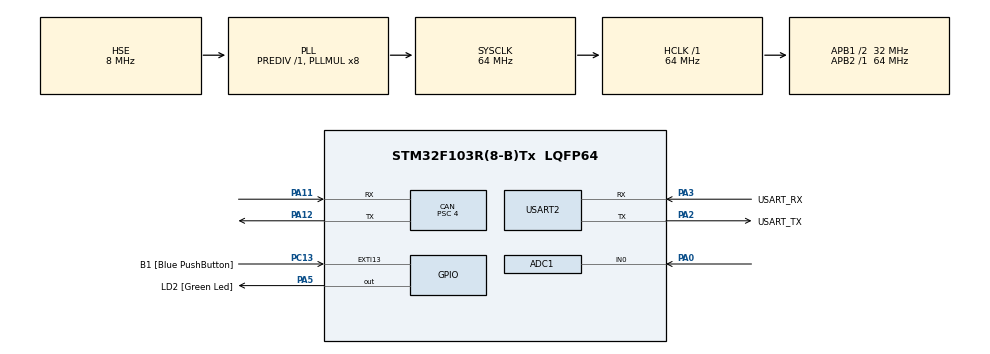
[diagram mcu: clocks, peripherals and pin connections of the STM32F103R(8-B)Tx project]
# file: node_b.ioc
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ADC1.Channel-0\#ChannelRegularConversion=ADC_CHANNEL_0
ADC1.NbrOfConversionFlag=1
ADC1.Rank-0\#ChannelRegularConversion=1
ADC1.SamplingTime-0\#ChannelRegularConversion=ADC_SAMPLETIME_55CYCLES_5
ADC1.master=1
CAN.BS1=CAN_BS1_13TQ
CAN.BS2=CAN_BS2_2TQ
CAN.AutoBusOff=ENABLE
CAN.AutoRetransmission=ENABLE
CAN.CalculateBaudRate=500000
CAN.CalculateTimeBit=2000
CAN.CalculateTimeQuantum=125.0
CAN.Prescaler=4
FREERTOS.Queues01=qB_CanRx,4,AppCanRxFrame_t,0,Dynamic,NULL,NULL;mbB_NodeAStatus,1,BNodeAStatus_t,0,Dynamic,NULL,NULL
FREERTOS.Tasks01=B_ComRxTask,40,256,StartBComRxTask,Default,NULL,Dynamic,NULL,NULL;B_Cyclic100msSupervisorTask,24,512,StartBCyclic100msSupervisorTask,Default,NULL,Dynamic,NULL,NULL
FREERTOS.configCHECK_FOR_STACK_OVERFLOW=2
FREERTOS.configMAX_TASK_NAME_LEN=32
FREERTOS.configTOTAL_HEAP_SIZE=8192
FREERTOS.configUSE_MALLOC_FAILED_HOOK=1
Mcu.Family=STM32F1
Mcu.Name=STM32F103R(8-B)Tx
Mcu.Package=LQFP64
NVIC.EXTI15_10_IRQn=true\:7\:0\:true\:false\:true\:true\:true\:true\:true
NVIC.PriorityGroup=NVIC_PRIORITYGROUP_4
NVIC.TIM4_IRQn=true\:15\:0\:false\:false\:true\:false\:false\:true\:true
NVIC.TimeBase=TIM4_IRQn
NVIC.TimeBaseIP=TIM4
NVIC.USB_LP_CAN1_RX0_IRQn=true\:5\:0\:true\:false\:true\:true\:true\:true\:true
PA0-WKUP.Signal=ADCx_IN0
PA11.Mode=CAN_Activate
PA11.Signal=CAN_RX
PA12.Mode=CAN_Activate
PA12.Signal=CAN_TX
PA13.GPIO_Label=TMS
PA13.Mode=Serial_Wire
PA13.Signal=SYS_JTMS-SWDIO
PA14.GPIO_Label=TCK
PA14.Mode=Serial_Wire
PA14.Signal=SYS_JTCK-SWCLK
PA2.GPIO_Label=USART_TX
PA2.GPIO_Mode=GPIO_MODE_AF_PP
PA2.GPIO_PuPd=GPIO_NOPULL
PA2.GPIO_Speed=GPIO_SPEED_FREQ_LOW
PA2.Mode=Asynchronous
PA2.Signal=USART2_TX
PA3.GPIO_Label=USART_RX
PA3.GPIO_Mode=GPIO_MODE_INPUT
PA3.GPIO_PuPd=GPIO_NOPULL
PA3.GPIO_Speed=GPIO_SPEED_FREQ_LOW
PA3.Mode=Asynchronous
PA3.Signal=USART2_RX
PA5.GPIO_Label=LD2 [Green Led]
PA5.GPIO_ModeDefaultOutputPP=GPIO_MODE_OUTPUT_PP
PA5.GPIO_PuPd=GPIO_NOPULL
PA5.GPIO_Speed=GPIO_SPEED_FREQ_LOW
PA5.Signal=GPIO_Output
PB3.GPIO_Label=SWO
PB3.Signal=SYS_JTDO-TRACESWO
PC13-TAMPER-RTC.GPIO_Label=B1 [Blue PushButton]
PC13-TAMPER-RTC.GPIO_ModeDefaultEXTI=GPIO_MODE_IT_FALLING
PC13-TAMPER-RTC.GPIO_PuPd=GPIO_NOPULL
PC13-TAMPER-RTC.Signal=GPXTI13
PC14-OSC32_IN.Signal=RCC_OSC32_IN
PC15-OSC32_OUT.Signal=RCC_OSC32_OUT
PD0-OSC_IN.Mode=HSE-External-Clock-Source
PD0-OSC_IN.Signal=RCC_OSC_IN
PD1-OSC_OUT.Signal=RCC_OSC_OUT
ProjectManager.HeapSize=0x200
ProjectManager.StackSize=0x400
ProjectManager.TargetToolchain=STM32CubeIDE
RCC.ADCPresc=RCC_ADCPCLK2_DIV6
RCC.AHBFreq_Value=64000000
RCC.APB1CLKDivider=RCC_HCLK_DIV2
RCC.APB1Freq_Value=32000000
RCC.APB1TimFreq_Value=64000000
RCC.APB2Freq_Value=64000000
RCC.APB2TimFreq_Value=64000000
RCC.HCLKFreq_Value=64000000
RCC.HSE_VALUE=8000000
RCC.PLLMUL=RCC_PLL_MUL8
RCC.PLLSourceVirtual=RCC_PLLSOURCE_HSE
RCC.SYSCLKFreq_VALUE=64000000
RCC.SYSCLKSource=RCC_SYSCLKSOURCE_PLLCLK
RCC.USBFreq_Value=64000000
SH.ADCx_IN0.0=ADC1_IN0,IN0
USART2.VirtualMode=VM_ASYNC
VP_FREERTOS_VS_CMSIS_V2.Mode=CMSIS_V2
VP_SYS_VS_tim4.Mode=TIM4
board=NUCLEO-F103RB

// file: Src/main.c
/* USER CODE BEGIN Header */
/**
  ******************************************************************************
  * @file           : main.c
  * @brief          : Main program body
  ******************************************************************************
  * @attention
  *
  * Copyright (c) 2026 STMicroelectronics.
  * All rights reserved.
  *
  * This software is licensed under terms that can be found in the LICENSE file
  * in the root directory of this software component.
  * If no LICENSE file comes with this software, it is provided AS-IS.
  *
  ******************************************************************************
  */
/* USER CODE END Header */
#include "main.h"
#include "cmsis_os.h"
#include "adc.h"
#include "can.h"
#include "usart.h"
#include "gpio.h"

void SystemClock_Config(void);
void MX_FREERTOS_Init(void);

int main(void)
{

  /* MCU Configuration--------------------------------------------------------*/

  /* Reset of all peripherals, Initializes the Flash interface and the Systick. */
  HAL_Init();

  /* Configure the system clock */
  SystemClock_Config();

  /* Initialize all configured peripherals */
  MX_GPIO_Init();
  MX_ADC1_Init();
  MX_CAN_Init();
  MX_USART2_UART_Init();

  /* Init scheduler */
  osKernelInitialize();  /* Call init function for freertos objects (in cmsis_os2.c) */
  MX_FREERTOS_Init();

  /* Start scheduler */
  osKernelStart();

  /* We should never get here as control is now taken by the scheduler */

  /* Infinite loop */
  while (1)
  {

  }
}

void SystemClock_Config(void)
{
  RCC_OscInitTypeDef RCC_OscInitStruct = {0};
  RCC_ClkInitTypeDef RCC_ClkInitStruct = {0};
  RCC_PeriphCLKInitTypeDef PeriphClkInit = {0};

  /** Initializes the RCC Oscillators according to the specified parameters
  * in the RCC_OscInitTypeDef structure.
  */
  RCC_OscInitStruct.OscillatorType = RCC_OSCILLATORTYPE_HSE;
  RCC_OscInitStruct.HSEState = RCC_HSE_BYPASS;
  RCC_OscInitStruct.HSEPredivValue = RCC_HSE_PREDIV_DIV1;
  RCC_OscInitStruct.PLL.PLLState = RCC_PLL_ON;
  RCC_OscInitStruct.PLL.PLLSource = RCC_PLLSOURCE_HSE;
  RCC_OscInitStruct.PLL.PLLMUL = RCC_PLL_MUL8;
  if (HAL_RCC_OscConfig(&RCC_OscInitStruct) != HAL_OK)
  {
    Error_Handler();
  }

  /** Initializes the CPU, AHB and APB buses clocks
  */
  RCC_ClkInitStruct.ClockType = RCC_CLOCKTYPE_HCLK|RCC_CLOCKTYPE_SYSCLK
                              |RCC_CLOCKTYPE_PCLK1|RCC_CLOCKTYPE_PCLK2;
  RCC_ClkInitStruct.SYSCLKSource = RCC_SYSCLKSOURCE_PLLCLK;
  RCC_ClkInitStruct.AHBCLKDivider = RCC_SYSCLK_DIV1;
  RCC_ClkInitStruct.APB1CLKDivider = RCC_HCLK_DIV2;
  RCC_ClkInitStruct.APB2CLKDivider = RCC_HCLK_DIV1;

  if (HAL_RCC_ClockConfig(&RCC_ClkInitStruct, FLASH_LATENCY_2) != HAL_OK)
  {
    Error_Handler();
  }
  PeriphClkInit.PeriphClockSelection = RCC_PERIPHCLK_ADC;
  PeriphClkInit.AdcClockSelection = RCC_ADCPCLK2_DIV6;
  if (HAL_RCCEx_PeriphCLKConfig(&PeriphClkInit) != HAL_OK)
  {
    Error_Handler();
  }
}

void HAL_TIM_PeriodElapsedCallback(TIM_HandleTypeDef *htim)
{
  if (htim->Instance == TIM4)
  {
    HAL_IncTick();
  }
}

void Error_Handler(void)
{
  __disable_irq();
  while (1)
  {
  }
}

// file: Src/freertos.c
/* USER CODE BEGIN Header */
/**
  ******************************************************************************
  * File Name          : freertos.c
  * Description        : Code for freertos applications
  ******************************************************************************
  * @attention
  *
  * Copyright (c) 2026 STMicroelectronics.
  * All rights reserved.
  *
  * This software is licensed under terms that can be found in the LICENSE file
  * in the root directory of this software component.
  * If no LICENSE file comes with this software, it is provided AS-IS.
  *
  ******************************************************************************
  */
/* USER CODE END Header */

#include "FreeRTOS.h"
#include "task.h"
#include "main.h"
#include "cmsis_os.h"

/* USER CODE BEGIN Includes */
#include "app_ipc.h"
#include "adc.h"
#include "can.h"
#include "usart.h"

#include <stdio.h>
#include <string.h>

/* USER CODE END Includes */

/* USER CODE BEGIN PD */

#define H2_CAN_BITRATE_BPS       500000U
#define H2_CAN_TX_STD_ID         0x100U
#define H2_CAN_RX_STD_ID         0x180U
#define H2_CAN_PERIOD_MS         100U
#define H2_CAN_STARTUP_DELAY_MS  10000U
#define H2_CAN_TX_DLC            2U
#define H2_CAN_RX_DLC            5U
#define H2_CAN_RX_COUNTER_INDEX  2U

#define H3_NTC_SAMPLE_PERIOD_MS  H2_CAN_PERIOD_MS
#define H3_NTC_LOG_DIVIDER       10U
#define H3_ADC_FULL_SCALE        4095U
#define H3_VDDA_CONFIGURED_MV    3300U
#define H3_R_FIXED_OHM           9911U
#define H3_NTC_OPEN_RAW_MAX      50U
#define H3_NTC_SHORT_RAW_MIN     3950U

#define H3_NTC_STATE_NORMAL      0U
#define H3_NTC_STATE_OPEN        1U
#define H3_NTC_STATE_SHORT       2U

/* USER CODE END PD */

/* USER CODE BEGIN Variables */

static volatile uint8_t g_h2_can_ready;
static volatile uint8_t g_h2_can_start_result;
static volatile uint32_t g_h2_tx_attempts;
static volatile uint32_t g_h2_tx_queued;
static volatile uint32_t g_h2_tx_failures;
static volatile uint32_t g_h2_rx_irq_count;
static volatile uint32_t g_h2_rx_queue_drops;
static volatile uint32_t g_h2_rx_valid;
static volatile uint32_t g_h2_rx_invalid;
static volatile uint32_t g_h2_rx_sequence_errors;
static volatile uint8_t g_h2_rx_seen;
static volatile uint8_t g_h2_last_rx_counter;

static uint8_t g_h3_adc_cal_result;
static uint8_t g_h3_adc_ready;
static uint8_t g_h3_adc_last_result;
static uint16_t g_h3_adc_latest_raw;
static uint16_t g_h3_adc_window_min = H3_ADC_FULL_SCALE;
static uint16_t g_h3_adc_window_max;
static uint32_t g_h3_adc_samples_total;
static uint32_t g_h3_adc_failures_total;
static uint32_t g_h3_adc_window_samples;

/* USER CODE END Variables */
/* Definitions for B_ComRxTask */
osThreadId_t B_ComRxTaskHandle;
const osThreadAttr_t B_ComRxTask_attributes = {
  .name = "B_ComRxTask",
  .stack_size = 256 * 4,
  .priority = (osPriority_t) osPriorityHigh,
};
/* Definitions for B_Cyclic100msSupervisorTask */
osThreadId_t B_Cyclic100msSupervisorTaskHandle;
const osThreadAttr_t B_Cyclic100msSupervisorTask_attributes = {
  .name = "B_Cyclic100msSupervisorTask",
  .stack_size = 512 * 4,
  .priority = (osPriority_t) osPriorityNormal,
};
/* Definitions for qB_CanRx */
osMessageQueueId_t qB_CanRxHandle;
const osMessageQueueAttr_t qB_CanRx_attributes = {
  .name = "qB_CanRx"
};
/* Definitions for mbB_NodeAStatus */
osMessageQueueId_t mbB_NodeAStatusHandle;
const osMessageQueueAttr_t mbB_NodeAStatus_attributes = {
  .name = "mbB_NodeAStatus"
};

/* USER CODE BEGIN FunctionPrototypes */

static uint8_t H2_CanStart(void);
static void App_UartWrite(const char *text);
static void H2_LogBoot(uint8_t start_result);
static void H2_LogStatus(void);
static void H2_SendFrame(uint8_t counter);
static uint8_t H2_IsValidPeerFrame(const AppCanRxFrame_t *frame);
static uint8_t H2_GetPeerCounter(const AppCanRxFrame_t *frame);
static uint8_t H3_AdcSample(uint16_t *raw);
static void H3_LogBoot(void);
static void H3_LogNtcStatus(void);

/* USER CODE END FunctionPrototypes */

void StartBComRxTask(void *argument);
void StartBCyclic100msSupervisorTask(void *argument);

void MX_FREERTOS_Init(void); /* (MISRA C 2004 rule 8.1) */

/* Hook prototypes */
void vApplicationStackOverflowHook(xTaskHandle xTask, signed char *pcTaskName);
void vApplicationMallocFailedHook(void);

/* USER CODE BEGIN 4 */
static uint8_t H2_CanStart(void)
{
  CAN_FilterTypeDef filter = {0};

  filter.FilterBank = 0;
  filter.FilterMode = CAN_FILTERMODE_IDMASK;
  filter.FilterScale = CAN_FILTERSCALE_32BIT;
  filter.FilterIdHigh = 0;
  filter.FilterIdLow = 0;
  filter.FilterMaskIdHigh = 0;
  filter.FilterMaskIdLow = 0;
  filter.FilterFIFOAssignment = CAN_RX_FIFO0;
  filter.FilterActivation = ENABLE;
  filter.SlaveStartFilterBank = 14;

  if (HAL_CAN_ConfigFilter(&hcan, &filter) != HAL_OK)
  {
    return 1U;
  }
  if (HAL_CAN_Start(&hcan) != HAL_OK)
  {
    return 2U;
  }
  if (HAL_CAN_ActivateNotification(&hcan,
                                   CAN_IT_RX_FIFO0_MSG_PENDING |
                                   CAN_IT_RX_FIFO0_OVERRUN) != HAL_OK)
  {
    return 3U;
  }

  return 0U;
}

static void App_UartWrite(const char *text)
{
  size_t length;

  if (text == NULL)
  {
    return;
  }

  length = strlen(text);
  if (length > UINT16_MAX)
  {
    length = UINT16_MAX;
  }
  (void)HAL_UART_Transmit(&huart2, (uint8_t *)text, (uint16_t)length, 100U);
}

static void H2_LogBoot(uint8_t start_result)
{
  char line[192];
  int length;

  if (start_result == 0U)
  {
    length = snprintf(line, sizeof(line),
                      "H2,B,BOOT,profile=formal_baseline,bitrate=%lu,tx_id=0x%03lX,tx_dlc=%u,rx_id=0x%03lX,rx_dlc=%u,period_ms=%lu,start_delay_ms=%lu\r\n",
                      (unsigned long)H2_CAN_BITRATE_BPS,
                      (unsigned long)H2_CAN_TX_STD_ID,
                      (unsigned int)H2_CAN_TX_DLC,
                      (unsigned long)H2_CAN_RX_STD_ID,
                      (unsigned int)H2_CAN_RX_DLC,
                      (unsigned long)H2_CAN_PERIOD_MS,
                      (unsigned long)H2_CAN_STARTUP_DELAY_MS);
  }
  else
  {
    length = snprintf(line, sizeof(line),
                      "H2,B,BOOT_FAIL,start_result=%u,hal_error=0x%08lX\r\n",
                      (unsigned int)start_result,
                      (unsigned long)HAL_CAN_GetError(&hcan));
  }

  if (length > 0)
  {
    line[sizeof(line) - 1U] = '\0';
    App_UartWrite(line);
  }
}

static void H2_LogStatus(void)
{
  char line[256];
  int length;

  length = snprintf(line, sizeof(line),
                    "H2,B,STAT,tick=%lu,tx_try=%lu,tx_q=%lu,tx_fail=%lu,rx_irq=%lu,rx=%lu,rx_bad=%lu,seq_err=%lu,q_drop=%lu,seen=%u,last=%u,mb_free=%lu,hal_err=0x%08lX,esr=0x%08lX\r\n",
                    (unsigned long)HAL_GetTick(),
                    (unsigned long)g_h2_tx_attempts,
                    (unsigned long)g_h2_tx_queued,
                    (unsigned long)g_h2_tx_failures,
                    (unsigned long)g_h2_rx_irq_count,
                    (unsigned long)g_h2_rx_valid,
                    (unsigned long)g_h2_rx_invalid,
                    (unsigned long)g_h2_rx_sequence_errors,
                    (unsigned long)g_h2_rx_queue_drops,
                    (unsigned int)g_h2_rx_seen,
                    (unsigned int)g_h2_last_rx_counter,
                    (unsigned long)HAL_CAN_GetTxMailboxesFreeLevel(&hcan),
                    (unsigned long)HAL_CAN_GetError(&hcan),
                    (unsigned long)hcan.Instance->ESR);

  if (length > 0)
  {
    line[sizeof(line) - 1U] = '\0';
    App_UartWrite(line);
  }
}

static void H2_SendFrame(uint8_t counter)
{
  CAN_TxHeaderTypeDef header = {0};
  uint32_t mailbox = 0U;
  uint8_t data[8] = {0};

  header.StdId = H2_CAN_TX_STD_ID;
  header.ExtId = 0U;
  header.IDE = CAN_ID_STD;
  header.RTR = CAN_RTR_DATA;
  header.DLC = H2_CAN_TX_DLC;
  header.TransmitGlobalTime = DISABLE;

  /* 0x100 Cooling_Command: zero demand and 4-bit alive counter. */
  data[0] = 0x00U;
  data[1] = (uint8_t)(counter & 0x0FU);

  g_h2_tx_attempts++;
  if (HAL_CAN_AddTxMessage(&hcan, &header, data, &mailbox) == HAL_OK)
  {
    g_h2_tx_queued++;
  }
  else
  {
    g_h2_tx_failures++;
  }
}

static uint8_t H2_IsValidPeerFrame(const AppCanRxFrame_t *frame)
{
  if ((frame == NULL) ||
      (frame->std_id != H2_CAN_RX_STD_ID) ||
      (frame->dlc != H2_CAN_RX_DLC))
  {
    return 0U;
  }

  /* 0x180 Actuator_Status: validate reserved bits and RPM validity. */
  if (((frame->data[0] & 0xC0U) != 0U) ||
      ((frame->data[0] & 0x03U) == 0x03U) ||
      (frame->data[1] != 0x00U) ||
      ((frame->data[2] & 0xF0U) != 0U))
  {
    return 0U;
  }

  if ((((frame->data[0] & 0x20U) == 0U) &&
       ((frame->data[3] != 0xFFU) || (frame->data[4] != 0xFFU))) ||
      (((frame->data[0] & 0x20U) != 0U) &&
       (frame->data[3] == 0xFFU) && (frame->data[4] == 0xFFU)))
  {
    return 0U;
  }

  return 1U;
}

static uint8_t H2_GetPeerCounter(const AppCanRxFrame_t *frame)
{
  return (uint8_t)(frame->data[H2_CAN_RX_COUNTER_INDEX] & 0x0FU);
}

static uint8_t H3_AdcSample(uint16_t *raw)
{
  uint32_t value;

  if (raw == NULL)
  {
    return 4U;
  }
  if (HAL_ADC_Start(&hadc1) != HAL_OK)
  {
    return 1U;
  }
  if (HAL_ADC_PollForConversion(&hadc1, 5U) != HAL_OK)
  {
    (void)HAL_ADC_Stop(&hadc1);
    return 2U;
  }

  value = HAL_ADC_GetValue(&hadc1);
  if (HAL_ADC_Stop(&hadc1) != HAL_OK)
  {
    return 3U;
  }
  if (value > H3_ADC_FULL_SCALE)
  {
    return 4U;
  }

  *raw = (uint16_t)value;
  return 0U;
}

static void H3_LogBoot(void)
{
  char line[192];
  int length;

  length = snprintf(line, sizeof(line),
                    "H3,B,NTC_BOOT,adc=ADC1_IN0,sample_ms=%lu,log_ms=%lu,vdda_cfg_mv=%lu,r_fixed_ohm=%lu,open_raw_max=%u,short_raw_min=%u,cal=%u,ready=%u\r\n",
                    (unsigned long)H3_NTC_SAMPLE_PERIOD_MS,
                    (unsigned long)(H3_NTC_SAMPLE_PERIOD_MS * H3_NTC_LOG_DIVIDER),
                    (unsigned long)H3_VDDA_CONFIGURED_MV,
                    (unsigned long)H3_R_FIXED_OHM,
                    (unsigned int)H3_NTC_OPEN_RAW_MAX,
                    (unsigned int)H3_NTC_SHORT_RAW_MIN,
                    (unsigned int)g_h3_adc_cal_result,
                    (unsigned int)g_h3_adc_ready);

  if (length > 0)
  {
    line[sizeof(line) - 1U] = '\0';
    App_UartWrite(line);
  }
}

static void H3_LogNtcStatus(void)
{
  char line[256];
  uint32_t adc_mv_nominal = 0U;
  uint32_t r_ntc_ohm = 0U;
  uint8_t calculation_valid = 0U;
  uint8_t ntc_state = H3_NTC_STATE_NORMAL;
  int length;

  if (g_h3_adc_window_samples > 0U)
  {
    adc_mv_nominal = ((uint32_t)g_h3_adc_latest_raw * H3_VDDA_CONFIGURED_MV) /
                     H3_ADC_FULL_SCALE;
    if (g_h3_adc_latest_raw <= H3_NTC_OPEN_RAW_MAX)
    {
      ntc_state = H3_NTC_STATE_OPEN;
    }
    else if (g_h3_adc_latest_raw >= H3_NTC_SHORT_RAW_MIN)
    {
      ntc_state = H3_NTC_STATE_SHORT;
    }
    else
    {
      r_ntc_ohm = (uint32_t)(((uint64_t)H3_R_FIXED_OHM *
                              (H3_ADC_FULL_SCALE - g_h3_adc_latest_raw)) /
                             g_h3_adc_latest_raw);
      calculation_valid = 1U;
    }
  }

  length = snprintf(line, sizeof(line),
                    "H3,B,NTC,tick=%lu,cal=%u,ready=%u,raw=%u,raw_min=%u,raw_max=%u,adc_mv_nom=%lu,r_ntc_ohm=%lu,ntc_state=%u,calc_valid=%u,samples=%lu,fail=%lu,last=%u\r\n",
                    (unsigned long)HAL_GetTick(),
                    (unsigned int)g_h3_adc_cal_result,
                    (unsigned int)g_h3_adc_ready,
                    (unsigned int)g_h3_adc_latest_raw,
                    (unsigned int)((g_h3_adc_window_samples > 0U) ?
                                   g_h3_adc_window_min : 0U),
                    (unsigned int)((g_h3_adc_window_samples > 0U) ?
                                   g_h3_adc_window_max : 0U),
                    (unsigned long)adc_mv_nominal,
                    (unsigned long)r_ntc_ohm,
                    (unsigned int)ntc_state,
                    (unsigned int)calculation_valid,
                    (unsigned long)g_h3_adc_samples_total,
                    (unsigned long)g_h3_adc_failures_total,
                    (unsigned int)g_h3_adc_last_result);

  if (length > 0)
  {
    line[sizeof(line) - 1U] = '\0';
    App_UartWrite(line);
  }

  g_h3_adc_window_min = H3_ADC_FULL_SCALE;
  g_h3_adc_window_max = 0U;
  g_h3_adc_window_samples = 0U;
}

void HAL_CAN_RxFifo0MsgPendingCallback(CAN_HandleTypeDef *can_handle)
{
  CAN_RxHeaderTypeDef header = {0};
  AppCanRxFrame_t frame = {0};
  uint8_t data[8] = {0};
  uint32_t index;

  if ((can_handle == NULL) || (can_handle->Instance != CAN1))
  {
    return;
  }

  g_h2_rx_irq_count++;
  if (HAL_CAN_GetRxMessage(can_handle, CAN_RX_FIFO0, &header, data) != HAL_OK)
  {
    g_h2_rx_queue_drops++;
    return;
  }

  frame.rx_tick = HAL_GetTick();
  frame.std_id = (uint16_t)header.StdId;
  frame.dlc = (uint8_t)((header.DLC <= 8U) ? header.DLC : 8U);
  for (index = 0U; index < frame.dlc; ++index)
  {
    frame.data[index] = data[index];
  }

  if ((qB_CanRxHandle == NULL) ||
      (osMessageQueuePut(qB_CanRxHandle, &frame, 0U, 0U) != osOK))
  {
    g_h2_rx_queue_drops++;
  }
}

void vApplicationStackOverflowHook(xTaskHandle xTask, signed char *pcTaskName)
{
   /* Run time stack overflow checking is performed if
   configCHECK_FOR_STACK_OVERFLOW is defined to 1 or 2. This hook function is
   called if a stack overflow is detected. */
}
/* USER CODE END 4 */

/* USER CODE BEGIN 5 */
void vApplicationMallocFailedHook(void)
{
   /* vApplicationMallocFailedHook() will only be called if
   configUSE_MALLOC_FAILED_HOOK is set to 1 in FreeRTOSConfig.h. It is a hook
   function that will get called if a call to pvPortMalloc() fails.
   pvPortMalloc() is called internally by the kernel whenever a task, queue,
   timer or semaphore is created. It is also called by various parts of the
   demo application. If heap_1.c or heap_2.c are used, then the size of the
   heap available to pvPortMalloc() is defined by configTOTAL_HEAP_SIZE in
   FreeRTOSConfig.h, and the xPortGetFreeHeapSize() API function can be used
   to query the size of free heap space that remains (although it does not
   provide information on how the remaining heap might be fragmented). */
}
/* USER CODE END 5 */

void MX_FREERTOS_Init(void) {

  /* Create the queue(s) */
  /* creation of qB_CanRx */
  qB_CanRxHandle = osMessageQueueNew (4, sizeof(AppCanRxFrame_t), &qB_CanRx_attributes);

  /* creation of mbB_NodeAStatus */
  mbB_NodeAStatusHandle = osMessageQueueNew (1, sizeof(BNodeAStatus_t), &mbB_NodeAStatus_attributes);

  /* Create the thread(s) */
  /* creation of B_ComRxTask */
  B_ComRxTaskHandle = osThreadNew(StartBComRxTask, NULL, &B_ComRxTask_attributes);

  /* creation of B_Cyclic100msSupervisorTask */
  B_Cyclic100msSupervisorTaskHandle = osThreadNew(StartBCyclic100msSupervisorTask, NULL, &B_Cyclic100msSupervisorTask_attributes);

}

void StartBComRxTask(void *argument)
{
  /* USER CODE BEGIN StartBComRxTask */
  AppCanRxFrame_t frame;
  uint8_t peer_counter;

  g_h2_can_start_result = H2_CanStart();
  if (g_h2_can_start_result == 0U)
  {
    g_h2_can_ready = 1U;
  }
  H2_LogBoot(g_h2_can_start_result);

  if (g_h2_can_start_result != 0U)
  {
    for (;;)
    {
      HAL_GPIO_TogglePin(LD2_GPIO_Port, LD2_Pin);
      osDelay(100U);
    }
  }

  /* Infinite loop */
  for(;;)
  {
    if (osMessageQueueGet(qB_CanRxHandle, &frame, NULL, osWaitForever) == osOK)
    {
      if (H2_IsValidPeerFrame(&frame) != 0U)
      {
        peer_counter = H2_GetPeerCounter(&frame);
        if ((g_h2_rx_seen != 0U) &&
            ((uint8_t)((g_h2_last_rx_counter + 1U) & 0x0FU) != peer_counter))
        {
          g_h2_rx_sequence_errors++;
        }
        g_h2_last_rx_counter = peer_counter;
        g_h2_rx_seen = 1U;
        g_h2_rx_valid++;
      }
      else
      {
        g_h2_rx_invalid++;
      }
    }
  }
  /* USER CODE END StartBComRxTask */
}

void StartBCyclic100msSupervisorTask(void *argument)
{
  /* USER CODE BEGIN StartBCyclic100msSupervisorTask */
  uint8_t counter = 0U;
  uint32_t cycle_count = 0U;
  uint16_t adc_raw = 0U;

  g_h3_adc_cal_result = (uint8_t)HAL_ADCEx_Calibration_Start(&hadc1);
  if (g_h3_adc_cal_result == (uint8_t)HAL_OK)
  {
    g_h3_adc_ready = 1U;
  }
  else
  {
    g_h3_adc_last_result = 5U;
  }

  while (g_h2_can_ready == 0U)
  {
    osDelay(10U);
  }
  osDelay(H2_CAN_STARTUP_DELAY_MS);
  H3_LogBoot();

  /* Infinite loop */
  for(;;)
  {
    if (g_h3_adc_ready != 0U)
    {
      g_h3_adc_last_result = H3_AdcSample(&adc_raw);
      if (g_h3_adc_last_result == 0U)
      {
        g_h3_adc_latest_raw = adc_raw;
        if (adc_raw < g_h3_adc_window_min)
        {
          g_h3_adc_window_min = adc_raw;
        }
        if (adc_raw > g_h3_adc_window_max)
        {
          g_h3_adc_window_max = adc_raw;
        }
        g_h3_adc_samples_total++;
        g_h3_adc_window_samples++;
      }
      else
      {
        g_h3_adc_failures_total++;
      }
    }

    H2_SendFrame(counter);
    counter = (uint8_t)((counter + 1U) & 0x0FU);
    cycle_count++;

    if ((cycle_count % 5U) == 0U)
    {
      HAL_GPIO_TogglePin(LD2_GPIO_Port, LD2_Pin);
    }
    if ((cycle_count % 10U) == 0U)
    {
      H2_LogStatus();
      H3_LogNtcStatus();
    }

    osDelay(H2_CAN_PERIOD_MS);
  }
  /* USER CODE END StartBCyclic100msSupervisorTask */
}
